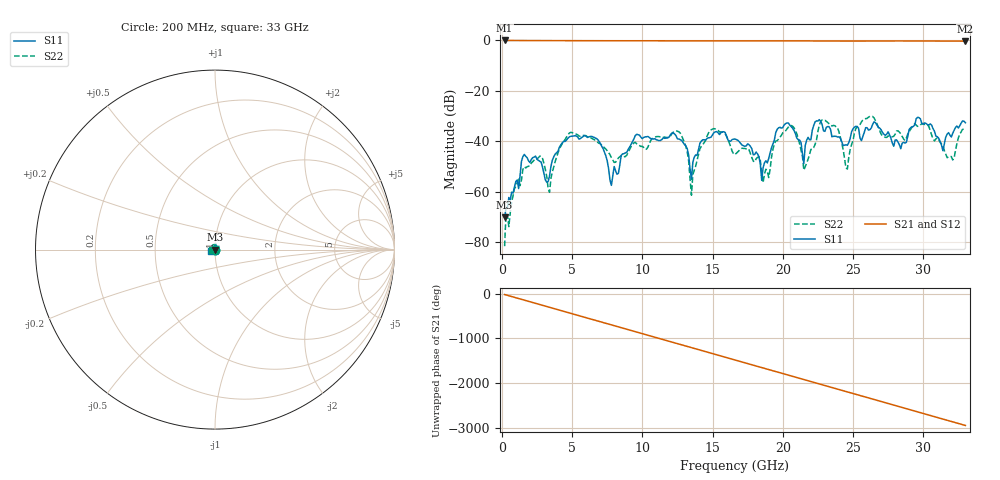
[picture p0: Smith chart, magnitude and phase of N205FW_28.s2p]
# GHZ S RI R 50
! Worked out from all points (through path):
!   329 points, 200 MHz to 33 GHz, reference 50 ohm
!   highest |S21| = -0.02 dB at 200 MHz (marker M1); lowest = -0.3 dB at 33 GHz (marker M2)
!   group delay of S21, straight-line fit = 248 ps
!   lowest |S11| = -70.2 dB at 200 MHz (marker M3), VSWR 1.00, Z = 50 - j0.0217 ohm
!   |S11| at or under -10 dB: start of sweep to end of sweep
!   |S22| runs from -81.6 to -30.0 dB; largest |S21 - S12| = 0.0022
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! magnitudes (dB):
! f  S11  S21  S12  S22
! 200 MHz  -70.2  0.0  0.0  -81.6
! 1.6 GHz  -45.2  0.0  0.0  -50.1
! 2.8 GHz  -48.3  -0.1  -0.1  -46.0
! 3.4 GHz  -53.7  -0.1  -0.1  -60.3
! 5.7 GHz  -38.5  -0.1  -0.1  -37.8
! 7.8 GHz  -57.5  -0.1  -0.1  -46.5
! 11.2 GHz  -39.8  -0.1  -0.1  -38.2
! 12.8 GHz  -39.7  -0.2  -0.2  -37.8
! 13.5 GHz  -55.1  -0.2  -0.2  -61.4
! 14.8 GHz  -38.6  -0.2  -0.2  -35.9
! 16.6 GHz  -39.1  -0.2  -0.2  -45.3
! 18.5 GHz  -55.5  -0.2  -0.2  -52.3
! 19.7 GHz  -34.7  -0.2  -0.2  -39.1
! 20.8 GHz  -35.7  -0.2  -0.2  -34.6
! 21.5 GHz  -48.8  -0.2  -0.2  -51.4
! 22.1 GHz  -35.7  -0.2  -0.2  -43.2
! 22.8 GHz  -33.3  -0.2  -0.2  -31.6
! 24.6 GHz  -41.6  -0.2  -0.2  -51.0
! 25.7 GHz  -38.1  -0.2  -0.2  -31.6
! 27.6 GHz  -37.4  -0.2  -0.2  -38.0
! 32.1 GHz  -36.8  -0.3  -0.3  -47.4
! 33 GHz  -32.7  -0.3  -0.3  -35.7
